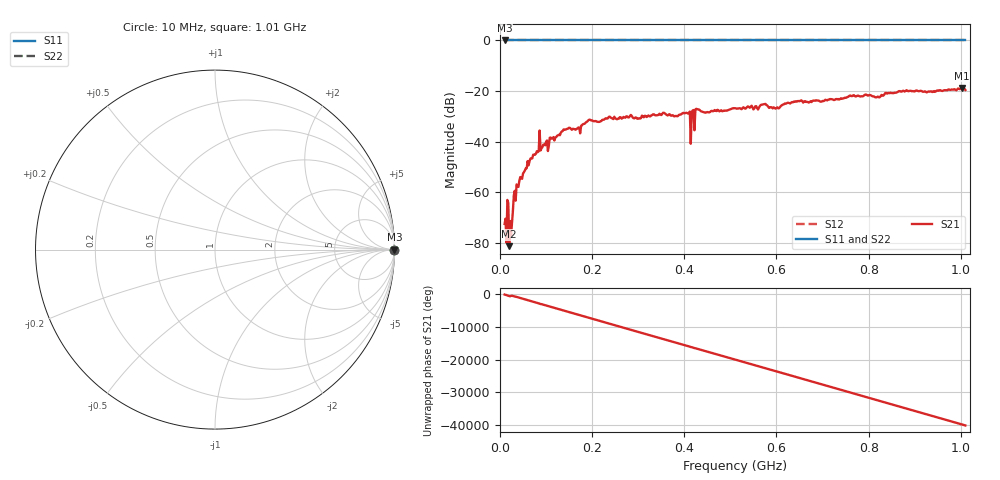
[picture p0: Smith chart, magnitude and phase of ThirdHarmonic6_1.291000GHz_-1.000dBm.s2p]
! 8/16/2025 2:07:51 PM
! C:\ANRITSUVNA\TEMP\TEMP.S2P
! CHANNEL.1
! TR.MEASUREMENT
! RAW.DATA
! RF.CORRECTION.OFF
! AVERAGING.OFF
! IF.BANDWIDTH: 5KHZ
! SWEEPTYPE:  FREQ.SWEEP(Linear)
! Reference Plane Port Info
! PORT:  PORT1  PORT2
! DISTANCE:  0  m  0  m
! TIME:  0  s  0  s
! PHASE.OFFSET:  0  deg.  0  deg.
! LOSS:  0  dB  0  dB
! REF.LOSS:  0  dB  0  dB
! REF.FREQ:  0  Hz  0  Hz
! Power Info
! POWER:  -20  dBm  -20  dBm
! EFF.POWER:  -20  dBm  -20  dBm
! SOURCE.ATTEN:  0  dB  0  dB
! TEST.ATTEN:  0  dB  0  dB
# GHZ S RI R 50.0
! FREQ.GHZ  S11RE  S11IM  S21RE  S21IM  S12RE  S12IM  S22RE  S22IM
!; PortSelection: Port_12
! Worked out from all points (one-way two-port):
!   501 points, 10 MHz to 1.01 GHz, reference 50 ohm
!   highest |S21| = -18.82 dB at 1.002 GHz (marker M1); lowest = -81.4 dB at 20 MHz (marker M2)
!   lowest |S11| = 0.0 dB at 10 MHz (marker M3)
!   |S11| at or under -10 dB: nowhere
!   |S22| runs from 0.0 to 0.0 dB; largest |S21 - S12| = 1.1
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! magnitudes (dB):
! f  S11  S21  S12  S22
! 10 MHz  0.0  -72.6  0.0  0.0
! 14 MHz  0.0  -80.1  0.0  0.0
! 20 MHz  0.0  -81.4  0.0  0.0
! 24 MHz  0.0  -77.2  0.0  0.0
! 32 MHz  0.0  -59.5  0.0  0.0
! 40 MHz  0.0  -57.9  0.0  0.0
! 82 MHz  0.0  -44.2  0.0  0.0
! 142 MHz  0.0  -35.3  0.0  0.0
! 178 MHz  0.0  -33.5  0.0  0.0
! 196 MHz  0.0  -31.4  0.0  0.0
! 344 MHz  0.0  -29.4  0.0  0.0
! 408 MHz  0.0  -28.9  0.0  0.0
! 410 MHz  0.0  -28.6  0.0  0.0
! 418 MHz  0.0  -27.7  0.0  0.0
! 420 MHz  0.0  -27.5  0.0  0.0
! 428 MHz  0.0  -27.2  0.0  0.0
! 510 MHz  0.0  -26.8  0.0  0.0
! 602 MHz  0.0  -26.5  0.0  0.0
! 678 MHz  0.0  -23.9  0.0  0.0
! 844 MHz  0.0  -20.7  0.0  0.0
! 1.002 GHz  0.0  -18.8  0.0  0.0
! 1.01 GHz  0.0  -19.6  0.0  0.0
